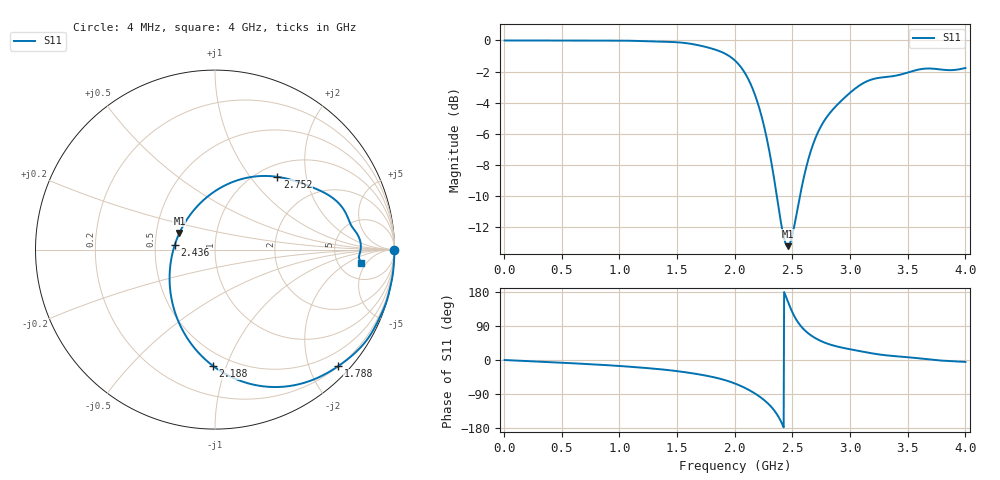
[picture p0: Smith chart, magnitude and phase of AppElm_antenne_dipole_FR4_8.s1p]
! TOUCHSTONE file generated by CST MICROWAVE STUDIO
! Date and time: Thu May 12 14:30:04 2022
! Project name: AppElm_antenne_dipole_FR4.cst
! Parameters = {L=38.8; e=0.035; f=2.45e+09; h=1.6; i=0.88; l1=4; lambda=122.449; ls=30; wl=1.7; ws=80}
! Header version: 2018
! Port assignment regex: !\s*Touchstone port\s*([0-9]+)\s*=\s*(CST MWS port|CST DS port)\s*([0-9]+|Zmin|Zmax)\s*\(\"(.*)\"\)(\s*mode\s*([0-9]+))?.*
! Touchstone port assignment:
! Touchstone port 1 = CST MWS port 1 ("")
# GHz S MA R 50
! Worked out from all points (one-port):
!   1000 points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, 4 MHz to 4 GHz, reference 50 ohm
!   lowest |S11| = -13.2 dB at 2.46 GHz (marker M1), VSWR 1.56, Z = 33 + j6.44 ohm
!   |S11| at or under -10 dB: 2.365 GHz to 2.565 GHz (199.8 MHz wide, 8.11 % of centre)
!   S11 on the Smith chart (normalised r, x): 4 MHz: open; 1.788 GHz: 0.21, -2.49; 2.188 GHz: 0.40, -0.90; 2.436 GHz: 0.63, +0.03; 2.752 GHz: 1.21, +1.37; 4 GHz: 8.29, -3.58
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0.004  0.9999 -0.1
0.504  1 -7.2
1.004  0.9988 -15.9
1.3  0.9923 -22.9
1.504  0.9865 -29.5
1.652  0.9708 -36.0
1.788  0.9447 -43.5
1.904  0.9117 -52.1
2.004  0.8605 -62.3
2.1  0.7726 -75.4
2.188  0.6486 -90.9
2.26  0.5191 -107.1
2.32  0.401 -124.9
2.376  0.2975 -148.3
2.436  0.2257 173.4
2.46  0.2187 154.8
2.504  0.2415 123.1
2.56  0.3095 94.5
2.62  0.3922 74.8
2.68  0.4654 61.1
2.752  0.5339 49.4
2.856  0.6036 38.1
3.004  0.6817 28.1
3.2  0.7519 17.1
3.504  0.7898 7.3
3.64  0.8115 2.9
3.764  0.8087 -0.9
4  0.8157 -5.1
